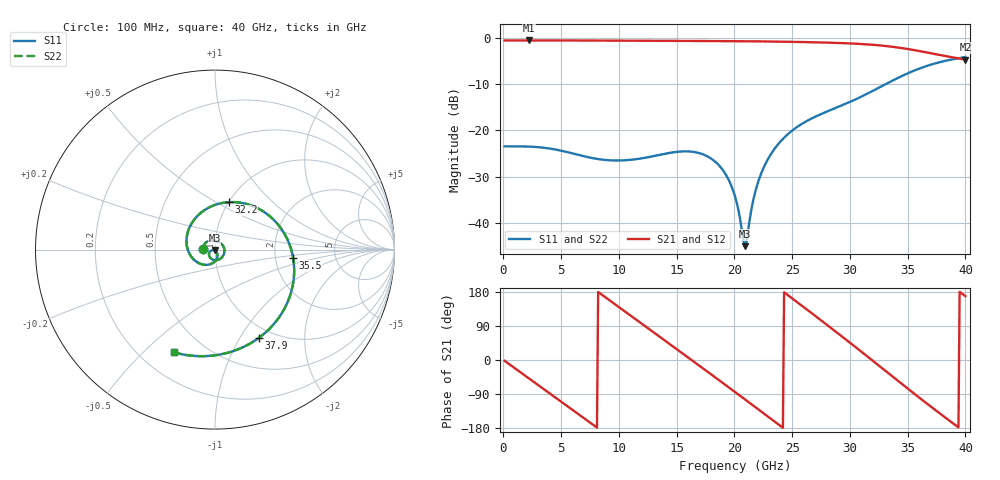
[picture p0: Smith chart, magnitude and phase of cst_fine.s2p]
! A_s4_d300_ap800: L1→L4 through L2/L3, drill Ø0.3, antipad Ø0.8, 4 GND vias at 1 mm
! stackup: 4-layer 1.6 mm FR-4
! ports: 1, 2
! CST Studio Suite 2025.5 Release from 2025-05-30, time domain (FIT, hexahedral, PBA), 339264 mesh cells, 46 s
! mesh: {'lpw': 30.0, 'lpb': 30.0, 'minstep': 0.0, 'ratio': 20}; ports: port 1 (face); port 2 (face)
! interpolated from CST's 1001 samples to the case grid
# Hz S RI R 50
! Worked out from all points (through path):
!   400 points, 100 MHz to 40 GHz, reference 50 ohm
!   highest |S21| = -0.60 dB at 2.2 GHz (marker M1); lowest = -4.7 dB at 40 GHz (marker M2)
!   group delay of S21, straight-line fit = 63.3 ps
!   lowest |S11| = -45.0 dB at 20.9 GHz (marker M3), VSWR 1.01, Z = 49.7 - j0.487 ohm
!   |S11| at or under -10 dB: start of sweep to 33.13 GHz
!   |S22| runs from -45.0 to -4.2 dB; largest |S21 - S12| = 3.6e-07
!   S11 on the Smith chart (normalised r, x): 100 MHz: 0.87, +0.00; 32.2 GHz: 1.00, +0.57; 35.5 GHz: 2.52, -0.29; 37.9 GHz: 0.87, -1.21; 40 GHz: 0.34, -0.62
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1e8  -0.0671 0.00108  0.932 -0.0358  0.932 -0.0358  -0.0671 0.00108
2.2e9  -0.0621 0.0241  0.6196 -0.6972  0.6196 -0.6972  -0.0621 0.0241
4.4e9  -0.0437 0.0444  -0.1103 -0.926  -0.1103 -0.926  -0.0437 0.0444
6.8e9  -0.0157 0.0507  -0.8042 -0.4703  -0.8042 -0.4703  -0.0157 0.0507
9.6e9  0.0159 0.0444  -0.7928 0.4863  -0.7928 0.4863  0.0159 0.0444
1.16e10  0.042 0.0251  -0.2271 0.8997  -0.2271 0.8997  0.042 0.0251
1.34e10  0.0523 -0.0127  0.4023 0.833  0.4023 0.833  0.0523 -0.0127
1.51e10  0.0312 -0.0496  0.8257 0.4108  0.8257 0.4108  0.0312 -0.0496
1.66e10  -0.0057 -0.0578  0.9136 -0.1115  0.9136 -0.1115  -0.00569 -0.0578
1.87e10  -0.0336 -0.024  0.5399 -0.7429  0.5399 -0.7429  -0.0336 -0.024
2.01e10  -0.018 -0.00393  0.071 -0.9138  0.071 -0.9138  -0.018 -0.00395
2.09e10  -0.00273 -0.0049  -0.2163 -0.8891  -0.2163 -0.8891  -0.00274 -0.00491
2.21e10  0.0132 -0.0256  -0.5976 -0.6889  -0.5976 -0.6889  0.0131 -0.0257
2.39e10  -0.00923 -0.073  -0.897 -0.1253  -0.897 -0.1253  -0.00924 -0.073
2.67e10  -0.1255 -0.048  -0.491 0.7452  -0.491 0.7452  -0.1255 -0.048
2.91e10  -0.1508 0.1  0.3404 0.8069  0.3404 0.8069  -0.1508 0.1
3.07e10  -0.0738 0.2091  0.7508 0.4158  0.7508 0.4158  -0.0738 0.2091
3.22e10  0.0761 0.2644  0.8266 -0.1053  0.8266 -0.1053  0.0761 0.2644
3.34e10  0.2328 0.2329  0.6473 -0.4782  0.6473 -0.4782  0.2328 0.2329
3.55e10  0.4352 -0.046  0.0345 -0.7357  0.0345 -0.7357  0.4352 -0.046
3.79e10  0.2467 -0.49  -0.5202 -0.3829  -0.5202 -0.3829  0.2466 -0.49
4e10  -0.2277 -0.573  -0.569 0.1151  -0.569 0.1151  -0.2277 -0.573
